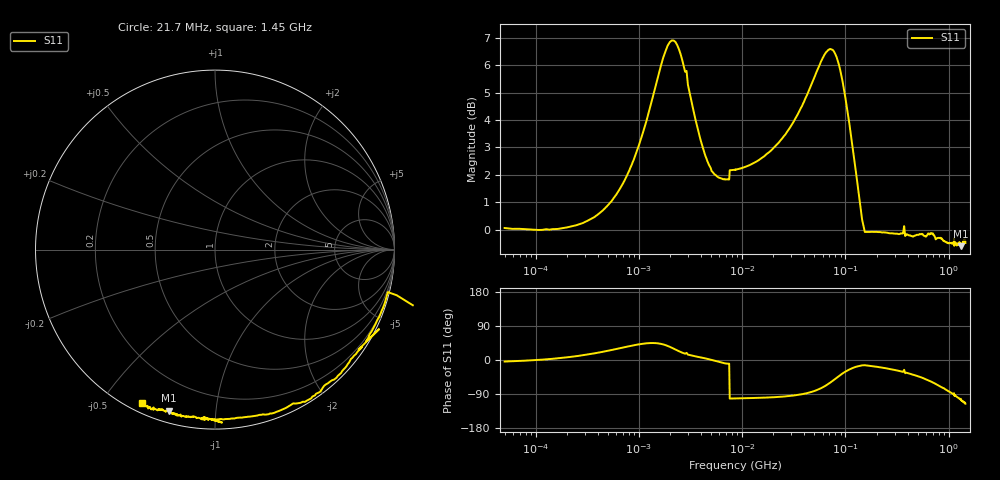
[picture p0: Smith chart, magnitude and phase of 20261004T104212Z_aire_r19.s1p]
! piloto_corto / aire / r19
# HZ S RI R 50
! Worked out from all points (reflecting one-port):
!   501 points, 50 kHz to 1.45 GHz, reference 50 ohm
!   lowest |S11| = -0.6 dB at 1.315 GHz (marker M1), VSWR 29.31, Z = 2.68 - j37.7 ohm
!   phase of S11 starts at -4 deg and turns -111 deg over the sweep
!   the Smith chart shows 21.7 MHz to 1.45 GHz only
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50000  1.005 -0.0716
183000  1.002 0.1015
363500  1.007 0.3112
658000  1.018 0.6177
1180000  1.134 1.095
1630000  1.463 1.346
1990000  1.804 1.252
2440000  1.96 0.8385
3430000  1.599 0.2904
4870000  1.303 0.0302
7300000  1.219 -0.2089
7750000  -0.2597 -1.258
8560000  -0.2547 -1.263
1.81e7  -0.2133 -1.367
3.16e7  -0.1001 -1.572
4.87e7  0.2318 -1.859
6.67e7  0.8952 -1.916
7.57e7  1.238 -1.725
8.83e7  1.495 -1.276
9.82e7  1.505 -0.9367
1e8  1.493 -0.8837
1.18e8  1.31 -0.4989
1.36e8  1.102 -0.31
1.63e8  0.959 -0.2504
4.06e8  0.8014 -0.5614
6.94e8  0.5102 -0.8422
1.315e9  -0.2561 -0.8982
1.45e9  -0.4055 -0.8552
